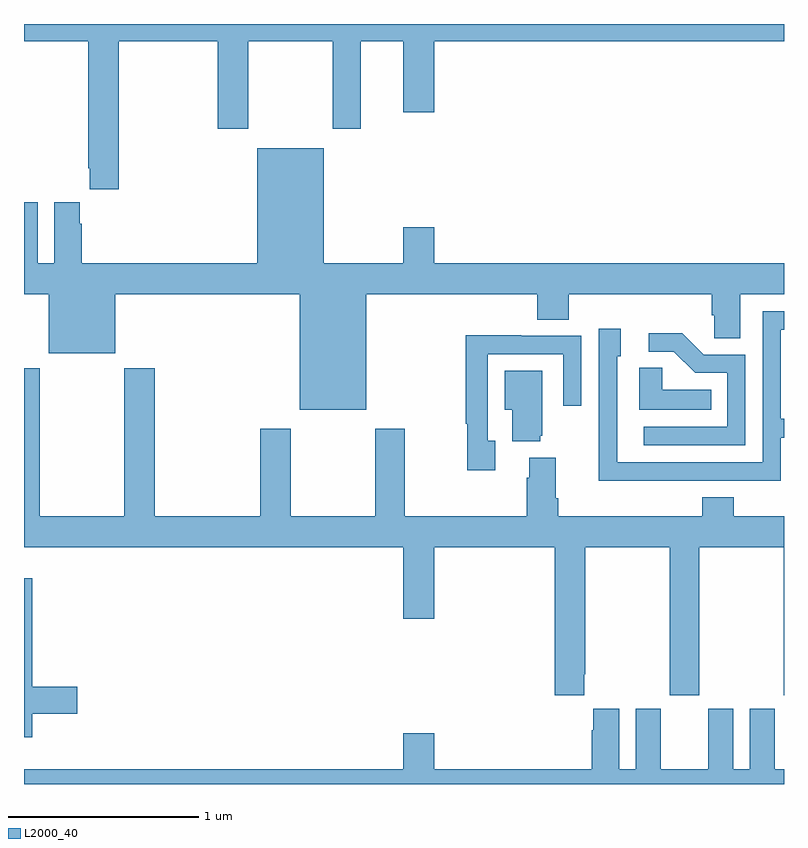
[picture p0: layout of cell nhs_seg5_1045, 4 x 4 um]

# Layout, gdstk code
import gdstk
lib = gdstk.Library(unit=1e-6, precision=1e-09)
def P(c, l, *ps):  # polygons
    for p in ps: c.add(gdstk.Polygon(p, *l))
L2000_40 = (2000, 40)

nhs_seg5_1045 = lib.new_cell('nhs_seg5_1045')
P(nhs_seg5_1045, L2000_40, [(175.499,908.708),(176.021,908.708),(176.021,908.247),(176.181,908.247),(176.181,908.708),(176.626,908.708),(176.626,908.247),(176.773,908.247),(176.773,908.708),(176.996,908.708),(176.996,908.334),(177.16,908.334),(177.16,908.708),(179,908.708),(179,908.799),(175,908.799),(175,908.708),(175.339,908.708),(175.339,908.041),(175.345,908.041),(175.345,907.929),(175.499,907.929)],
  [(176.8,907.376),(177.701,907.376),(177.701,907.243),(177.866,907.243),(177.866,907.376),(178.619,907.376),(178.619,907.267),(178.632,907.267),(178.632,907.144),(178.771,907.144),(178.771,907.376),(179,907.376),(179,907.54),(177.16,907.54),(177.16,907.729),(176.996,907.729),(176.996,907.54),(176.578,907.54),(176.578,908.146),(176.228,908.146),(176.228,907.54),(175.304,907.54),(175.304,907.748),(175.294,907.748),(175.294,907.861),(175.16,907.861),(175.16,907.54),(175.072,907.54),(175.072,907.861),(175,907.861),(175,907.376),(175.13,907.376),(175.13,907.067),(175.48,907.067),(175.48,907.376),(176.45,907.376),(176.45,906.77),(176.8,906.77)],
  [(178.487,906.396),(178.983,906.396),(178.983,906.621),(179,906.621),(179,906.722),(178.983,906.722),(178.983,907.191),(179,907.191),(179,907.287),(178.887,907.287),(178.887,906.492),(178.122,906.492),(178.122,907.05),(178.141,907.05),(178.141,907.195),(178.026,907.195),(178.026,906.701),(178.024,906.701),(178.024,906.395),(178.487,906.395)],
  [(178.797,907.059),(178.578,907.059),(178.465,907.172),(178.287,907.172),(178.287,907.074),(178.421,907.074),(178.532,906.963),(178.701,906.963),(178.701,906.678),(178.263,906.678),(178.263,906.582),(178.797,906.582)],
  [(177.481,906.606),(177.441,906.606),(177.441,907.062),(177.837,907.062),(177.837,906.789),(177.933,906.789),(177.933,907.158),(177.617,907.158),(177.617,907.16),(177.325,907.16),(177.325,906.694),(177.333,906.694),(177.333,906.45),(177.481,906.45)],
  [(178.616,906.874),(178.359,906.874),(178.359,906.989),(178.238,906.989),(178.238,906.77),(178.616,906.77)],
  [(177.949,905.377),(177.954,905.377),(177.954,906.044),(178.399,906.044),(178.399,905.265),(178.554,905.265),(178.554,906.044),(178.999,906.044),(178.999,905.265),(179,905.265),(179,906.208),(178.736,906.208),(178.736,906.307),(178.571,906.307),(178.571,906.208),(177.812,906.208),(177.812,906.304),(177.799,906.304),(177.799,906.517),(177.659,906.517),(177.659,906.41),(177.647,906.41),(177.647,906.208),(177.003,906.208),(177.003,906.67),(176.848,906.67),(176.848,906.208),(176.403,906.208),(176.403,906.67),(176.243,906.67),(176.243,906.208),(175.688,906.208),(175.688,906.988),(175.528,906.988),(175.528,906.208),(175.083,906.208),(175.083,906.988),(175,906.988),(175,906.044),(176.996,906.044),(176.996,905.67),(177.16,905.67),(177.16,906.044),(177.794,906.044),(177.794,905.265),(177.949,905.265)],
  [(177.716,906.633),(177.727,906.633),(177.727,906.973),(177.53,906.973),(177.53,906.77),(177.569,906.77),(177.569,906.602),(177.716,906.602)],
  [(175.043,905.17),(175.279,905.17),(175.279,905.312),(175.043,905.312),(175.043,905.881),(175,905.881),(175,905.046),(175.043,905.046)],
  [(179,904.876),(178.951,904.876),(178.951,905.194),(178.82,905.194),(178.82,904.876),(178.732,904.876),(178.732,905.194),(178.601,905.194),(178.601,904.876),(178.351,904.876),(178.351,905.194),(178.22,905.194),(178.22,904.876),(178.132,904.876),(178.132,905.194),(177.995,905.194),(177.995,905.081),(177.989,905.081),(177.989,904.876),(177.16,904.876),(177.16,905.065),(176.996,905.065),(176.996,904.876),(175,904.876),(175,904.799),(179,904.799)])

lib.write_gds('nhs_seg5_1045.gds')
